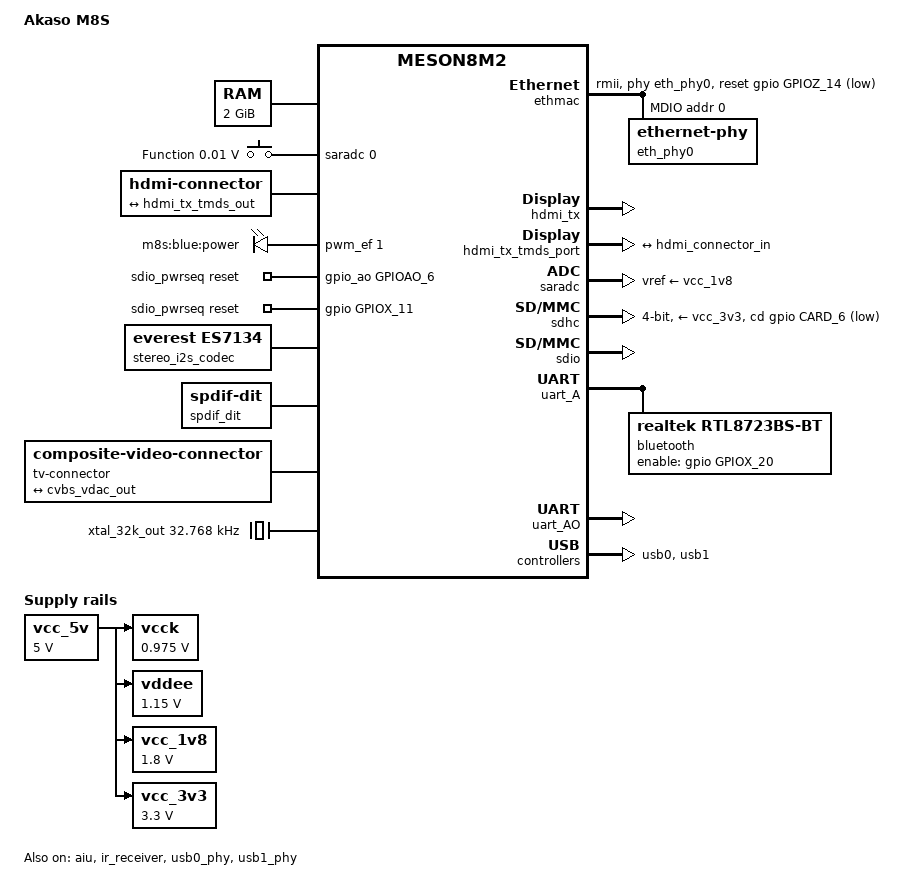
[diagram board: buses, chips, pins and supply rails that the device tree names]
/*
 * Copyright (c) 2017 Martin Blumenstingl <martin.blumenstingl@googlemail.com>.
 *
 * SPDX-License-Identifier: (GPL-2.0+ OR MIT)
 */

/dts-v1/;

#include "meson8m2.dtsi"

#include <dt-bindings/gpio/gpio.h>
#include <dt-bindings/input/input.h>

/ {
	model = "Akaso M8S";
	compatible = "akaso,m8s", "amlogic,meson8m2";

	aliases {
		ethernet0 = &ethmac;
		serial0 = &uart_AO;
	};

	chosen {
		stdout-path = "serial0:115200n8";
	};

	memory {
		device_type = "memory";
		reg = <0x40000000 0x80000000>;
	};

	adc-keys {
		compatible = "adc-keys";
		io-channels = <&saradc 0>;
		io-channel-names = "buttons";
		keyup-threshold-microvolt = <1710000>;

		button-function {
			label = "Function";
			linux,code = <KEY_FN>;
			press-threshold-microvolt = <10000>;
		};
	};

	hdmi-connector {
		compatible = "hdmi-connector";
		type = "a";

		port {
			hdmi_connector_in: endpoint {
				remote-endpoint = <&hdmi_tx_tmds_out>;
			};
		};
	};

	pwmleds {
		compatible = "pwm-leds";

		power {
			label = "m8s:blue:power";
			pwms = <&pwm_ef 1 7812500 0>;
			max-brightness = <255>;
			active-low;
			linux,default-trigger = "default-on";
		};
	};

	sdio_pwrseq: sdio-pwrseq {
		compatible = "mmc-pwrseq-simple";

		pinctrl-0 = <&xtal_32k_out_pins>;
		pinctrl-names = "default";

		reset-gpios = <&gpio_ao GPIOAO_6 GPIO_ACTIVE_HIGH>,
			      <&gpio GPIOX_11 GPIO_ACTIVE_HIGH>;

		clocks = <&xtal_32k_out>;
		clock-names = "ext_clock";
	};

	sound {
		compatible = "amlogic,gx-sound-card";
		model = "M8M2-M8S";
		audio-routing = "I2S Encoder Playback", "I2S FIFO Playback",
				"SPDIF Encoder Playback", "I2S FIFO Playback",
				"SPDIF Encoder Playback", "SPDIF FIFO Playback";

		assigned-clocks = <&clkc CLKID_MPLL0>,
				  <&clkc CLKID_MPLL1>;
		assigned-clock-rates = <270950400>,
				       <294912000>;

		dai-link-0 {
			sound-dai = <&aiu AIU_CPU CPU_I2S_FIFO>;
		};

		dai-link-1 {
			sound-dai = <&aiu AIU_CPU CPU_SPDIF_FIFO>;
		};

		dai-link-2 {
			sound-dai = <&aiu AIU_CPU CPU_I2S_ENCODER>;
			dai-format = "i2s";
			mclk-fs = <256>;

			codec-0 {
				sound-dai = <&stereo_i2s_codec>;
			};
		};

		dai-link-3 {
			sound-dai = <&aiu AIU_CPU CPU_SPDIF_ENCODER>;

			codec-0 {
				sound-dai = <&spdif_dit>;
			};
		};
	};

	stereo_i2s_codec: i2s-audio-codec {
		compatible = "everest,es7134";
		#sound-dai-cells = <0>;
	};

	spdif_dit: spdif-audio-codec {
		#sound-dai-cells = <0>;
		compatible = "linux,spdif-dit";
		sound-name-prefix = "DIT";
	};

	tv-connector {
		compatible = "composite-video-connector";

		port {
			cvbs_connector_in: endpoint {
				remote-endpoint = <&cvbs_vdac_out>;
			};
		};
	};

	vcck: regulator-vcck {
		compatible = "regulator-fixed";
		regulator-name = "VCCK";
		regulator-min-microvolt = <975000>;
		regulator-max-microvolt = <975000>;
		vin-supply = <&vcc_5v>;
	};

	vddee: regulator-vddee {
		compatible = "regulator-fixed";
		regulator-name = "VDD_EE";
		regulator-min-microvolt = <1150000>;
		regulator-max-microvolt = <1150000>;
		vin-supply = <&vcc_5v>;
	};

	vcc_1v8: regulator-vcc1v8 {
		compatible = "regulator-fixed";
		regulator-name = "VCC1V8";
		regulator-min-microvolt = <1800000>;
		regulator-max-microvolt = <1800000>;
		vin-supply = <&vcc_5v>;
	};

	vcc_3v3: regulator-vcc3v3 {
		compatible = "regulator-fixed";
		regulator-name = "VCC3V3";
		regulator-min-microvolt = <3300000>;
		regulator-max-microvolt = <3300000>;
		vin-supply = <&vcc_5v>;
	};

	vcc_5v: regulator-vcc5v {
		compatible = "regulator-fixed";
		regulator-name = "VCC5V";
		regulator-min-microvolt = <5000000>;
		regulator-max-microvolt = <5000000>;
	};

	xtal_32k_out: xtal-32k-out-clk {
		compatible = "fixed-clock";
		#clock-cells = <0>;
		clock-frequency = <32768>;
		clock-output-names = "xtal_32k_out";
	};
};

&aiu {
	status = "okay";

	pinctrl-0 = <&i2s_am_clk_pins>, <&i2s_out_ao_clk_pins>,
		    <&i2s_out_lr_clk_pins>, <&i2s_out_ch01_ao_pins>,
		    <&spdif_out_pins>;
	pinctrl-names = "default";
};

&cec_AO {
	// TODO: is this correct?
	clocks = <&xtal_32k_out>;
	clock-names = "core";

	pinctrl-0 = <&hdmi_cec_ao_pins>;
	pinctrl-names = "default";
};

&cpu0 {
	cpu-supply = <&vcck>;
};

&cvbs_vdac_port {
	cvbs_vdac_out: endpoint {
		remote-endpoint = <&cvbs_connector_in>;
	};
};

&ethmac {
	status = "okay";

	pinctrl-0 = <&eth_pins>;
	pinctrl-names = "default";

	phy-handle = <&eth_phy0>;
	phy-mode = "rmii";

	snps,reset-gpio = <&gpio GPIOZ_14 0>;
	snps,reset-delays-us = <0 10000 1000000>;
	snps,reset-active-low;

	mdio {
		compatible = "snps,dwmac-mdio";
		#address-cells = <1>;
		#size-cells = <0>;

		eth_phy0: ethernet-phy@0 {
			/* IC Plus IP101GR (0x02430c54) */
			reg = <0>;
		};
	};
};

&hdmi_tx {
	status = "okay";
	pinctrl-0 = <&hdmi_hpd_pins>, <&hdmi_i2c_pins>;
	pinctrl-names = "default";
};

&hdmi_tx_tmds_port {
	hdmi_tx_tmds_out: endpoint {
		remote-endpoint = <&hdmi_connector_in>;
	};
};

&ir_receiver {
	status = "okay";
	pinctrl-0 = <&ir_recv_pins>;
	pinctrl-names = "default";
};

&mali {
	mali-supply = <&vddee>;
};

&saradc {
	status = "okay";
	vref-supply = <&vcc_1v8>;
};

&sdhc {
	status = "okay";

	pinctrl-0 = <&sdxc_b_pins>;
	pinctrl-names = "default";

	bus-width = <4>;
	max-frequency = <50000000>;

	no-sdio;
	cap-sd-highspeed;
	disable-wp;

	cd-gpios = <&gpio CARD_6 GPIO_ACTIVE_LOW>;

	vmmc-supply = <&vcc_3v3>;
	vqmmc-supply = <&vcc_3v3>;
};

&sdio {
	status = "okay";

	pinctrl-0 = <&sd_a_pins>;
	pinctrl-names = "default";

	sdio_wireless_slot: slot@0 {
		compatible = "mmc-slot";
		reg = <0>;

		bus-width = <4>;
		cap-mmc-highspeed;
		cap-sd-highspeed;
		non-removable;
		disable-wp;

		mmc-pwrseq = <&sdio_pwrseq>;

		vmmc-supply = <&vcc_3v3>;
	};
};

&uart_A {
	status = "okay";

	pinctrl-0 = <&uart_a1_pins>, <&uart_a1_cts_rts_pins>;
	pinctrl-names = "default";
	uart-has-rtscts;

	bluetooth {
		compatible = "realtek,rtl8723bs-bt";
		enable-gpios = <&gpio GPIOX_20 GPIO_ACTIVE_HIGH>;
	};
};

&uart_AO {
	status = "okay";
	pinctrl-0 = <&uart_ao_a_pins>;
	pinctrl-names = "default";
};

&usb0 {
	status = "okay";
};

&usb1 {
	status = "okay";
};

&usb0_phy {
	status = "okay";
};

&usb1_phy {
	status = "okay";
};
